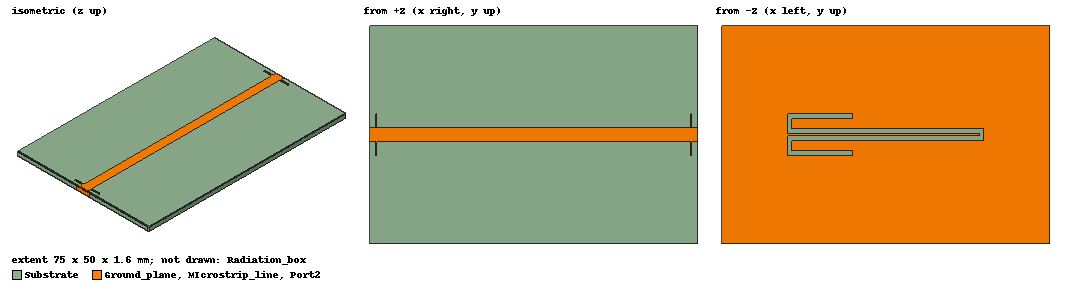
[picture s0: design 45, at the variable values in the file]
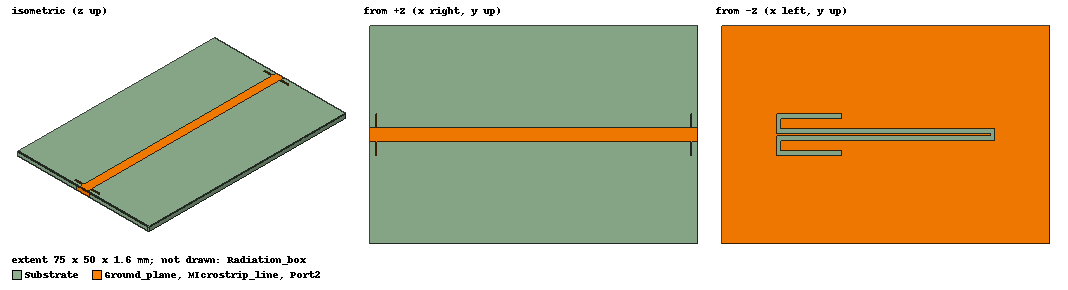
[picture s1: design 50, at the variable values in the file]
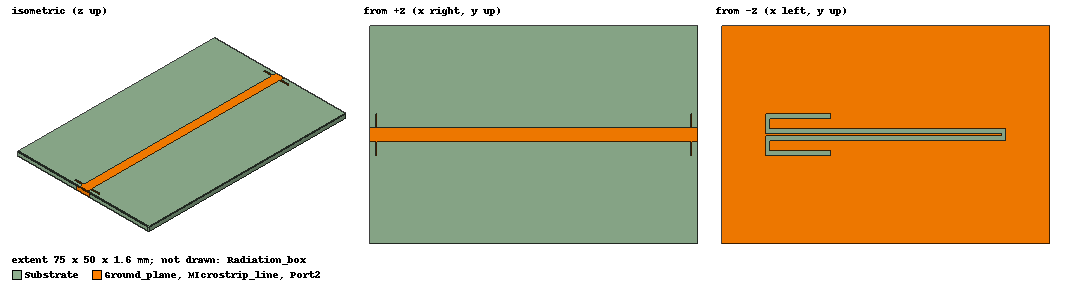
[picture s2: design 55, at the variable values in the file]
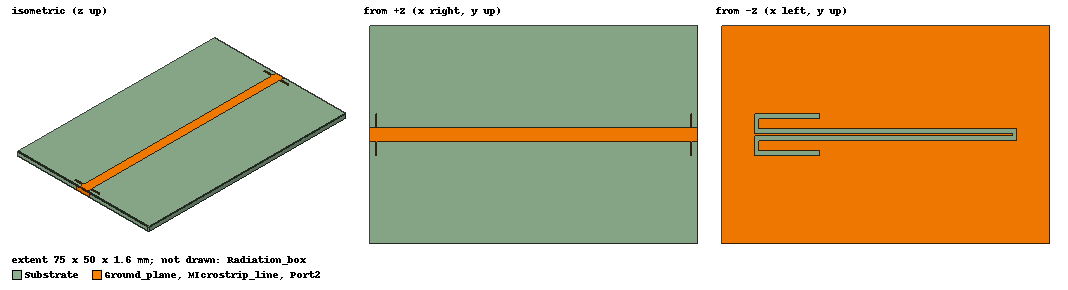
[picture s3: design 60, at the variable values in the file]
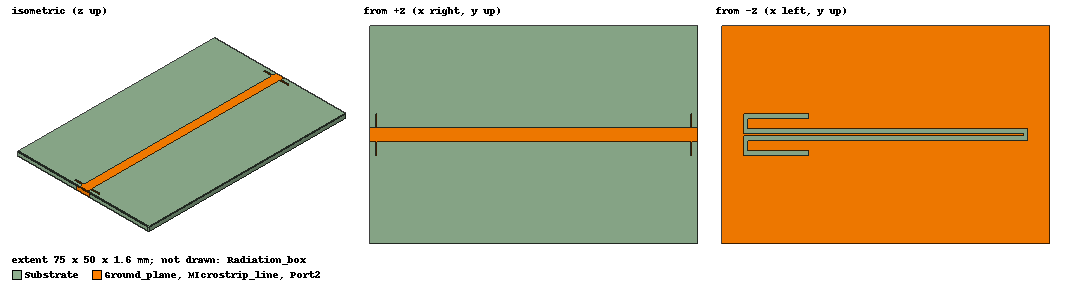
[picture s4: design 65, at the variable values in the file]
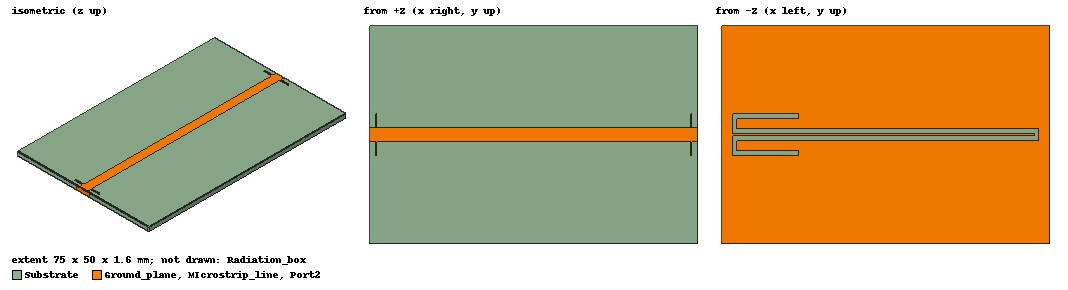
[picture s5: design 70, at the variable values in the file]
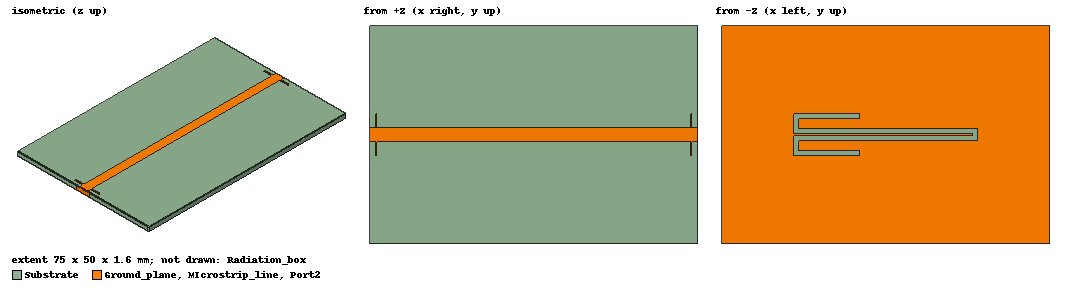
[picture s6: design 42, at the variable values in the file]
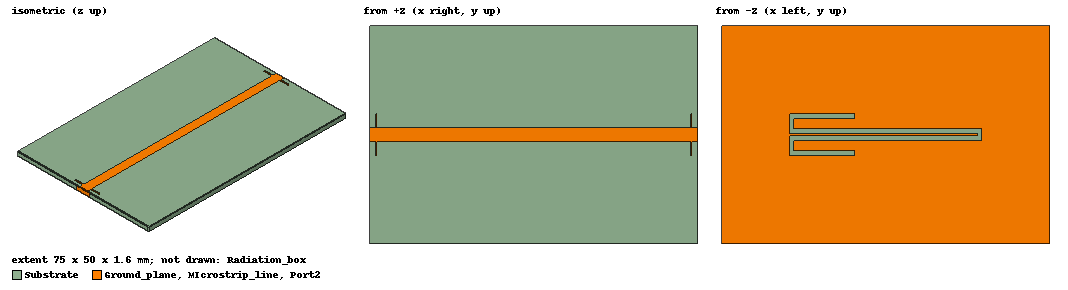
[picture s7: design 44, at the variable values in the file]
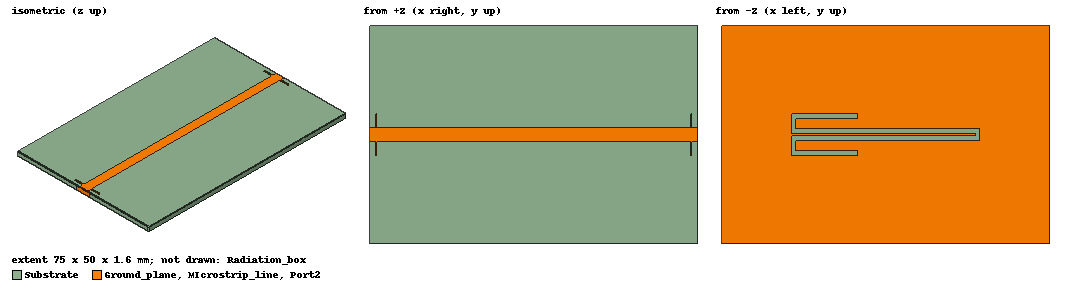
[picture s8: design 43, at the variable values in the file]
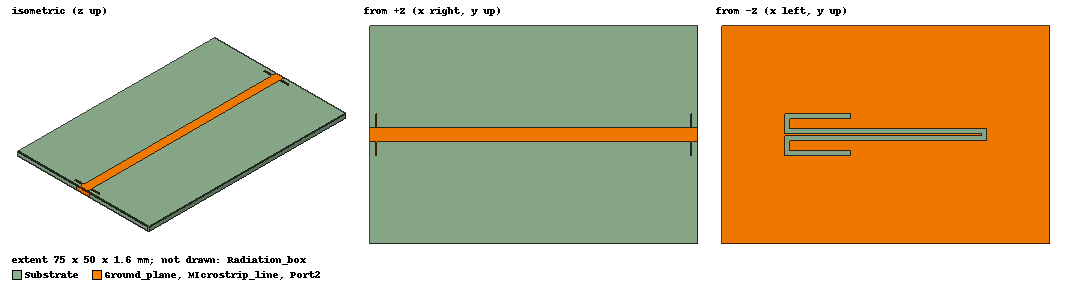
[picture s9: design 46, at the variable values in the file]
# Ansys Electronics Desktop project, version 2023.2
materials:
  vacuum: permittivity=1
  FR4_epoxy: permittivity=4.4 dielectric_loss_tangent=0.02
  air: permittivity=1.0006 permeability=1.0000004

design 45 (HFSS, HFSS Terminal Network, model units mm)
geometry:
  Substrate [FR4_epoxy] = box(corner=(-37.5mm, -25mm, 0mm), size=(75mm, 50mm, 1.6mm))
  Ground_plane = rectangle(corner=(-37.5mm, -25mm, 0mm), x_size=75mm, y_size=50mm)
  MIcrostrip_line = rectangle(corner=(-37.5mm, -1.5mm, 1.6mm), x_size=75mm, y_size=3mm)
  Rectangle1 = rectangle(corner=(-22.5mm, -1.3mm, 0mm), x_size=45mm, y_size=1mm)
  Rectangle2 = rectangle(corner=(-22.5mm, 0.3mm, 0mm), x_size=45mm, y_size=1mm)
  Rectangle3 = rectangle(corner=(-22.5mm, -0.3mm, 0mm), x_size=1mm, y_size=0.6mm)
  Rectangle4 = rectangle(corner=(22.5mm, -1.3mm, 0mm), x_size=-1mm, y_size=-2.4mm)
  Rectangle5 = rectangle(corner=(22.5mm, 3.7mm, 0mm), x_size=-1mm, y_size=-2.4mm)
  Rectangle6 = rectangle(corner=(22.5mm, -3.7mm, 0mm), x_size=-15mm, y_size=-1mm)
  Rectangle7 = rectangle(corner=(22.5mm, 4.7mm, 0mm), x_size=-15mm, y_size=-1mm)
  Ground_plane.subtract(Rectangle1..Rectangle7)
  Port1 = rectangle(corner=(-37.5mm, -2.5mm, 1.6mm), y_size=5mm, z_size=-1.6mm)
  Port2 = rectangle(corner=(37.5mm, -2.5mm, 1.6mm), y_size=5mm, z_size=-1.6mm)
  Radiation_box [air] = box(corner=(-60mm, -45mm, -10mm), size=(125mm, 90mm, 35mm))
  Rectangle8 = rectangle(corner=(35.8mm, -1.5mm, 1.6mm), x_size=0.4mm, y_size=-3.4mm)
  Rectangle9 = rectangle(corner=(35.8mm, 1.5mm, 1.6mm), x_size=0.4mm, y_size=3.4mm)
  Rectangle10 = rectangle(corner=(-36.2mm, -1.5mm, 1.6mm), x_size=0.4mm, y_size=-3.4mm)
  Rectangle11 = rectangle(corner=(-36.2mm, 1.5mm, 1.6mm), x_size=0.4mm, y_size=3.4mm)
  MIcrostrip_line.unite(Rectangle8..Rectangle11)
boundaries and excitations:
  PerfE1: Perfect E Objects=Ground_plane
  PerfE2: Perfect E Objects=MIcrostrip_line
  Rad1: Radiation Objects=Radiation_box
  1: Lumped Port Objects=Port1 LumpedPortType=Modal Modes{Mode1{IntLine{(-37.5, 0, 0) -> (-37.5, 0, 1.6)} CharImp=Zpi RenormImp=50ohm}} Impedance=50ohm
  2: Lumped Port Objects=Port2 LumpedPortType=Modal Modes{Mode1{IntLine{(37.5, 0, 0) -> (37.5, 0, 1.6)} CharImp=Zpi RenormImp=50ohm}} Impedance=50ohm
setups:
  Setup1: HfssDriven Frequency=1GHz MaxDeltaS=0.02 MaximumPasses=6 MinimumPasses=1 MinimumConvergedPasses=1 PercentRefinement=30 BasisOrder=1 PortAccuracy=2 DrivenSolverType="Direct Solver"
    sweep Sweep: 0.1GHz to 1.5GHz, 401 points; Type=Fast SaveFields
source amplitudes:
  1:1: 1V 0deg
  2:1: 0V 0deg
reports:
  S Parameter Plot 1: dB(S(1,1)), dB(S(2,1)), dB(S(1,2)), dB(S(2,2)) vs Freq on Setup1 : Sweep; markers m1 at 0.905GHz, m2 at 0.8945GHz, m3 at 0.9155GHz, m4 at 1.2445GHz, m5 at 0.653GHz, m6 at 0.3415GHz

design 50 (HFSS, HFSS Terminal Network, model units mm)
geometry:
  Substrate [FR4_epoxy] = box(corner=(-37.5mm, -25mm, 0mm), size=(75mm, 50mm, 1.6mm))
  Ground_plane = rectangle(corner=(-37.5mm, -25mm, 0mm), x_size=75mm, y_size=50mm)
  Rectangle1 = rectangle(corner=(-25mm, -1.3mm, 0mm), x_size=50mm, y_size=1mm)
  Rectangle2 = rectangle(corner=(-25mm, 0.3mm, 0mm), x_size=50mm, y_size=1mm)
  Rectangle3 = rectangle(corner=(-25mm, -0.3mm, 0mm), x_size=1mm, y_size=0.6mm)
  Rectangle4 = rectangle(corner=(25mm, -1.3mm, 0mm), x_size=-1mm, y_size=-2.4mm)
  Rectangle5 = rectangle(corner=(25mm, 3.7mm, 0mm), x_size=-1mm, y_size=-2.4mm)
  Rectangle6 = rectangle(corner=(25mm, -3.7mm, 0mm), x_size=-15mm, y_size=-1mm)
  Rectangle7 = rectangle(corner=(25mm, 4.7mm, 0mm), x_size=-15mm, y_size=-1mm)
  Ground_plane.subtract(Rectangle1..Rectangle7)
  MIcrostrip_line = rectangle(corner=(-37.5mm, -1.5mm, 1.6mm), x_size=75mm, y_size=3mm)
  Rectangle8 = rectangle(corner=(35.8mm, -1.5mm, 1.6mm), x_size=0.4mm, y_size=-3.4mm)
  Rectangle9 = rectangle(corner=(35.8mm, 1.5mm, 1.6mm), x_size=0.4mm, y_size=3.4mm)
  Rectangle10 = rectangle(corner=(-36.2mm, -1.5mm, 1.6mm), x_size=0.4mm, y_size=-3.4mm)
  Rectangle11 = rectangle(corner=(-36.2mm, 1.5mm, 1.6mm), x_size=0.4mm, y_size=3.4mm)
  MIcrostrip_line.unite(Rectangle8..Rectangle11)
  Port1 = rectangle(corner=(-37.5mm, -2.5mm, 1.6mm), y_size=5mm, z_size=-1.6mm)
  Port2 = rectangle(corner=(37.5mm, -2.5mm, 1.6mm), y_size=5mm, z_size=-1.6mm)
  Radiation_box [air] = box(corner=(-60mm, -45mm, -10mm), size=(125mm, 90mm, 35mm))
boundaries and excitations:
  PerfE1: Perfect E Objects=Ground_plane
  PerfE2: Perfect E Objects=MIcrostrip_line
  Rad1: Radiation Objects=Radiation_box
  1: Lumped Port Objects=Port1 LumpedPortType=Modal Modes{Mode1{IntLine{(-37.5, 0, 0) -> (-37.5, 0, 1.6)} CharImp=Zpi RenormImp=50ohm}} Impedance=50ohm
  2: Lumped Port Objects=Port2 LumpedPortType=Modal Modes{Mode1{IntLine{(37.5, 0, 0) -> (37.5, 0, 1.6)} CharImp=Zpi RenormImp=50ohm}} Impedance=50ohm
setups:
  Setup1: HfssDriven Frequency=0.9GHz MaxDeltaS=0.02 MaximumPasses=6 MinimumPasses=1 MinimumConvergedPasses=1 PercentRefinement=30 BasisOrder=1 PortAccuracy=2 DrivenSolverType="Direct Solver"
    sweep Sweep: 0.1GHz to 1.5GHz, 801 points; Type=Fast SaveFields
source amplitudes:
  1:1: 1V 0deg
  2:1: 0V 0deg
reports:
  S Parameter Plot 1: dB(S(1,1)), dB(S(2,1)), dB(S(1,2)), dB(S(2,2)) vs Freq on Setup1 : Sweep; markers m1 at 0.57775GHz, m2 at 1.13075GHz, m3 at 0.81225GHz, m4 at 0.835GHz, m5 at 0.82275GHz

design 55 (HFSS, HFSS Terminal Network, model units mm)
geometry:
  Substrate [FR4_epoxy] = box(corner=(-37.5mm, -25mm, 0mm), size=(75mm, 50mm, 1.6mm))
  Ground_plane = rectangle(corner=(-37.5mm, -25mm, 0mm), x_size=75mm, y_size=50mm)
  Rectangle1 = rectangle(corner=(-27.5mm, -1.3mm, 0mm), x_size=55mm, y_size=1mm)
  Rectangle2 = rectangle(corner=(-27.5mm, 0.3mm, 0mm), x_size=55mm, y_size=1mm)
  Rectangle3 = rectangle(corner=(-27.5mm, -0.3mm, 0mm), x_size=1mm, y_size=0.6mm)
  Rectangle4 = rectangle(corner=(27.5mm, -1.3mm, 0mm), x_size=-1mm, y_size=-2.4mm)
  Rectangle5 = rectangle(corner=(27.5mm, 3.7mm, 0mm), x_size=-1mm, y_size=-2.4mm)
  Rectangle6 = rectangle(corner=(27.5mm, -3.7mm, 0mm), x_size=-15mm, y_size=-1mm)
  Rectangle7 = rectangle(corner=(27.5mm, 4.7mm, 0mm), x_size=-15mm, y_size=-1mm)
  Ground_plane.subtract(Rectangle1..Rectangle7)
  MIcrostrip_line = rectangle(corner=(-37.5mm, -1.5mm, 1.6mm), x_size=75mm, y_size=3mm)
  Rectangle8 = rectangle(corner=(35.8mm, -1.5mm, 1.6mm), x_size=0.4mm, y_size=-3.4mm)
  Rectangle9 = rectangle(corner=(35.8mm, 1.5mm, 1.6mm), x_size=0.4mm, y_size=3.4mm)
  Rectangle10 = rectangle(corner=(-36.2mm, -1.5mm, 1.6mm), x_size=0.4mm, y_size=-3.4mm)
  Rectangle11 = rectangle(corner=(-36.2mm, 1.5mm, 1.6mm), x_size=0.4mm, y_size=3.4mm)
  MIcrostrip_line.unite(Rectangle8..Rectangle11)
  Port1 = rectangle(corner=(-37.5mm, -2.5mm, 1.6mm), y_size=5mm, z_size=-1.6mm)
  Port2 = rectangle(corner=(37.5mm, -2.5mm, 1.6mm), y_size=5mm, z_size=-1.6mm)
  Radiation_box [air] = box(corner=(-60mm, -45mm, -10mm), size=(125mm, 90mm, 35mm))
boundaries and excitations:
  PerfE1: Perfect E Objects=Ground_plane
  PerfE2: Perfect E Objects=MIcrostrip_line
  Rad1: Radiation Objects=Radiation_box
  1: Lumped Port Objects=Port1 LumpedPortType=Modal Modes{Mode1{IntLine{(-37.5, 0, 0) -> (-37.5, 0, 1.6)} CharImp=Zpi RenormImp=50ohm}} Impedance=50ohm
  2: Lumped Port Objects=Port2 LumpedPortType=Modal Modes{Mode1{IntLine{(37.5, 0, 0) -> (37.5, 0, 1.6)} CharImp=Zpi RenormImp=50ohm}} Impedance=50ohm
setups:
  Setup1: HfssDriven Frequency=0.9GHz MaxDeltaS=0.02 MaximumPasses=6 MinimumPasses=1 MinimumConvergedPasses=1 PercentRefinement=30 BasisOrder=1 PortAccuracy=2 DrivenSolverType="Direct Solver"
    sweep Sweep: 0.1GHz to 1.5GHz, 901 points; Type=Fast SaveFields
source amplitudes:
  1:1: 1V 0deg
  2:1: 0V 0deg
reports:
  S Parameter Plot 1: dB(S(1,1)), dB(S(2,1)), dB(S(1,2)), dB(S(2,2)) vs Freq on Setup1 : Sweep; markers m1 at 0.59155556GHz, m2 at 1.024GHz, m3 at 0.74555556GHz, m4 at 0.76266667GHz, m5 at 0.75333333GHz

design 60 (HFSS, HFSS Terminal Network, model units mm)
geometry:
  Substrate [FR4_epoxy] = box(corner=(-37.5mm, -25mm, 0mm), size=(75mm, 50mm, 1.6mm))
  Ground_plane = rectangle(corner=(-37.5mm, -25mm, 0mm), x_size=75mm, y_size=50mm)
  Rectangle1 = rectangle(corner=(-30mm, -1.3mm, 0mm), x_size=60mm, y_size=1mm)
  Rectangle2 = rectangle(corner=(-30mm, 0.3mm, 0mm), x_size=60mm, y_size=1mm)
  Rectangle3 = rectangle(corner=(-30mm, -0.3mm, 0mm), x_size=1mm, y_size=0.6mm)
  Rectangle4 = rectangle(corner=(30mm, -1.3mm, 0mm), x_size=-1mm, y_size=-2.4mm)
  Rectangle5 = rectangle(corner=(30mm, 3.7mm, 0mm), x_size=-1mm, y_size=-2.4mm)
  Rectangle6 = rectangle(corner=(30mm, -3.7mm, 0mm), x_size=-15mm, y_size=-1mm)
  Rectangle7 = rectangle(corner=(30mm, 4.7mm, 0mm), x_size=-15mm, y_size=-1mm)
  Ground_plane.subtract(Rectangle1..Rectangle7)
  MIcrostrip_line = rectangle(corner=(-37.5mm, -1.5mm, 1.6mm), x_size=75mm, y_size=3mm)
  Rectangle8 = rectangle(corner=(35.8mm, -1.5mm, 1.6mm), x_size=0.4mm, y_size=-3.4mm)
  Rectangle9 = rectangle(corner=(35.8mm, 1.5mm, 1.6mm), x_size=0.4mm, y_size=3.4mm)
  Rectangle10 = rectangle(corner=(-36.2mm, -1.5mm, 1.6mm), x_size=0.4mm, y_size=-3.4mm)
  Rectangle11 = rectangle(corner=(-36.2mm, 1.5mm, 1.6mm), x_size=0.4mm, y_size=3.4mm)
  MIcrostrip_line.unite(Rectangle8..Rectangle11)
  Port1 = rectangle(corner=(-37.5mm, -2.5mm, 1.6mm), y_size=5mm, z_size=-1.6mm)
  Port2 = rectangle(corner=(37.5mm, -2.5mm, 1.6mm), y_size=5mm, z_size=-1.6mm)
  Radiation_box [air] = box(corner=(-60mm, -45mm, -10mm), size=(125mm, 90mm, 35mm))
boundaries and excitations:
  PerfE1: Perfect E Objects=Ground_plane
  PerfE2: Perfect E Objects=MIcrostrip_line
  Rad1: Radiation Objects=Radiation_box
  1: Lumped Port Objects=Port1 LumpedPortType=Modal Modes{Mode1{IntLine{(-37.5, 0, 0) -> (-37.5, 0, 1.6)} CharImp=Zpi RenormImp=50ohm}} Impedance=50ohm
  2: Lumped Port Objects=Port2 LumpedPortType=Modal Modes{Mode1{IntLine{(37.5, 0, 0) -> (37.5, 0, 1.6)} CharImp=Zpi RenormImp=50ohm}} Impedance=50ohm
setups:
  Setup1: HfssDriven Frequency=0.8GHz MaxDeltaS=0.02 MaximumPasses=6 MinimumPasses=1 MinimumConvergedPasses=1 PercentRefinement=30 BasisOrder=1 PortAccuracy=2 DrivenSolverType="Direct Solver"
    sweep Sweep: 0.1GHz to 1.5GHz, 801 points; Type=Fast SaveFields
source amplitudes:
  1:1: 1V 0deg
  2:1: 0V 0deg
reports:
  S Parameter Plot 1: dB(S(1,1)), dB(S(2,1)), dB(S(1,2)), dB(S(2,2)) vs Freq on Setup1 : Sweep; markers m1 at 0.70725GHz, m2 at 0.70025GHz, m3 at 0.716GHz, m4 at 0.53925GHz, m5 at 0.93125GHz

design 65 (HFSS, HFSS Terminal Network, model units mm)
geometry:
  Substrate [FR4_epoxy] = box(corner=(-37.5mm, -25mm, 0mm), size=(75mm, 50mm, 1.6mm))
  Ground_plane = rectangle(corner=(-37.5mm, -25mm, 0mm), x_size=75mm, y_size=50mm)
  Rectangle1 = rectangle(corner=(-32.5mm, -1.3mm, 0mm), x_size=65mm, y_size=1mm)
  Rectangle2 = rectangle(corner=(-32.5mm, 0.3mm, 0mm), x_size=65mm, y_size=1mm)
  Rectangle3 = rectangle(corner=(-32.5mm, -0.3mm, 0mm), x_size=1mm, y_size=0.6mm)
  Rectangle4 = rectangle(corner=(32.5mm, -1.3mm, 0mm), x_size=-1mm, y_size=-2.4mm)
  Rectangle5 = rectangle(corner=(32.5mm, 3.7mm, 0mm), x_size=-1mm, y_size=-2.4mm)
  Rectangle6 = rectangle(corner=(32.5mm, -3.7mm, 0mm), x_size=-15mm, y_size=-1mm)
  Rectangle7 = rectangle(corner=(32.5mm, 4.7mm, 0mm), x_size=-15mm, y_size=-1mm)
  Ground_plane.subtract(Rectangle1..Rectangle7)
  MIcrostrip_line = rectangle(corner=(-37.5mm, -1.5mm, 1.6mm), x_size=75mm, y_size=3mm)
  Rectangle8 = rectangle(corner=(35.8mm, -1.5mm, 1.6mm), x_size=0.4mm, y_size=-3.4mm)
  Rectangle9 = rectangle(corner=(35.8mm, 1.5mm, 1.6mm), x_size=0.4mm, y_size=3.4mm)
  Rectangle10 = rectangle(corner=(-36.2mm, -1.5mm, 1.6mm), x_size=0.4mm, y_size=-3.4mm)
  Rectangle11 = rectangle(corner=(-36.2mm, 1.5mm, 1.6mm), x_size=0.4mm, y_size=3.4mm)
  MIcrostrip_line.unite(Rectangle8..Rectangle11)
  Port1 = rectangle(corner=(-37.5mm, -2.5mm, 1.6mm), y_size=5mm, z_size=-1.6mm)
  Port2 = rectangle(corner=(37.5mm, -2.5mm, 1.6mm), y_size=5mm, z_size=-1.6mm)
  Radiation_box [air] = box(corner=(-60mm, -45mm, -10mm), size=(125mm, 90mm, 35mm))
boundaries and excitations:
  PerfE1: Perfect E Objects=Ground_plane
  PerfE2: Perfect E Objects=MIcrostrip_line
  Rad1: Radiation Objects=Radiation_box
  1: Lumped Port Objects=Port1 LumpedPortType=Modal Modes{Mode1{IntLine{(-37.5, 0, 0) -> (-37.5, 0, 1.6)} CharImp=Zpi RenormImp=50ohm}} Impedance=50ohm
  2: Lumped Port Objects=Port2 LumpedPortType=Modal Modes{Mode1{IntLine{(37.5, 0, 0) -> (37.5, 0, 1.6)} CharImp=Zpi RenormImp=50ohm}} Impedance=50ohm
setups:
  Setup1: HfssDriven Frequency=0.7GHz MaxDeltaS=0.02 MaximumPasses=6 MinimumPasses=1 MinimumConvergedPasses=1 PercentRefinement=30 BasisOrder=1 PortAccuracy=2 DrivenSolverType="Direct Solver"
    sweep Sweep: 0.1GHz to 1.5GHz, 901 points; Type=Fast SaveFields
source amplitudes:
  1:1: 1V 0deg
  2:1: 0V 0deg
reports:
  S Parameter Plot 1: dB(S(1,1)), dB(S(2,1)), dB(S(1,2)), dB(S(2,2)) vs Freq on Setup1 : Sweep; markers m1 at 0.46244444GHz, m2 at 0.93533333GHz, m3 at 0.63666667GHz, m4 at 0.65066667GHz, m5 at 0.64444444GHz

design 70 (HFSS, HFSS Terminal Network, model units mm)
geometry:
  Substrate [FR4_epoxy] = box(corner=(-37.5mm, -25mm, 0mm), size=(75mm, 50mm, 1.6mm))
  Ground_plane = rectangle(corner=(-37.5mm, -25mm, 0mm), x_size=75mm, y_size=50mm)
  Rectangle1 = rectangle(corner=(-35mm, -1.3mm, 0mm), x_size=70mm, y_size=1mm)
  Rectangle2 = rectangle(corner=(-35mm, 0.3mm, 0mm), x_size=70mm, y_size=1mm)
  Rectangle3 = rectangle(corner=(-35mm, -0.3mm, 0mm), x_size=1mm, y_size=0.6mm)
  Rectangle4 = rectangle(corner=(35mm, -1.3mm, 0mm), x_size=-1mm, y_size=-2.4mm)
  Rectangle5 = rectangle(corner=(35mm, 3.7mm, 0mm), x_size=-1mm, y_size=-2.4mm)
  Rectangle6 = rectangle(corner=(35mm, -3.7mm, 0mm), x_size=-15mm, y_size=-1mm)
  Rectangle7 = rectangle(corner=(35mm, 4.7mm, 0mm), x_size=-15mm, y_size=-1mm)
  Ground_plane.subtract(Rectangle1..Rectangle7)
  MIcrostrip_line = rectangle(corner=(-37.5mm, -1.5mm, 1.6mm), x_size=75mm, y_size=3mm)
  Rectangle8 = rectangle(corner=(35.8mm, -1.5mm, 1.6mm), x_size=0.4mm, y_size=-3.4mm)
  Rectangle9 = rectangle(corner=(35.8mm, 1.5mm, 1.6mm), x_size=0.4mm, y_size=3.4mm)
  Rectangle10 = rectangle(corner=(-36.2mm, -1.5mm, 1.6mm), x_size=0.4mm, y_size=-3.4mm)
  Rectangle11 = rectangle(corner=(-36.2mm, 1.5mm, 1.6mm), x_size=0.4mm, y_size=3.4mm)
  MIcrostrip_line.unite(Rectangle8..Rectangle11)
  Port1 = rectangle(corner=(-37.5mm, -2.5mm, 1.6mm), y_size=5mm, z_size=-1.6mm)
  Port2 = rectangle(corner=(37.5mm, -2.5mm, 1.6mm), y_size=5mm, z_size=-1.6mm)
  Radiation_box [air] = box(corner=(-60mm, -45mm, -10mm), size=(125mm, 90mm, 35mm))
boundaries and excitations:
  PerfE1: Perfect E Objects=Ground_plane
  PerfE2: Perfect E Objects=MIcrostrip_line
  Rad1: Radiation Objects=Radiation_box
  1: Lumped Port Objects=Port1 LumpedPortType=Modal Modes{Mode1{IntLine{(-37.5, 0, 0) -> (-37.5, 0, 1.6)} CharImp=Zpi RenormImp=50ohm}} Impedance=50ohm
  2: Lumped Port Objects=Port2 LumpedPortType=Modal Modes{Mode1{IntLine{(37.5, 0, 0) -> (37.5, 0, 1.6)} CharImp=Zpi RenormImp=50ohm}} Impedance=50ohm
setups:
  Setup1: HfssDriven Frequency=0.6GHz MaxDeltaS=0.02 MaximumPasses=6 MinimumPasses=1 MinimumConvergedPasses=1 PercentRefinement=30 BasisOrder=1 PortAccuracy=2 DrivenSolverType="Direct Solver"
    sweep Sweep: 0.1GHz to 1.5GHz, 901 points; Type=Fast SaveFields
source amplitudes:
  1:1: 1V 0deg
  2:1: 0V 0deg
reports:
  S Parameter Plot 1: dB(S(1,1)), dB(S(2,1)), dB(S(1,2)), dB(S(2,2)) vs Freq on Setup1 : Sweep; markers m1 at 0.36288889GHz, m2 at 0.88866667GHz, m3 at 0.59777778GHz, m4 at 0.61022222GHz, m5 at 0.604GHz

design 42 (HFSS, HFSS Terminal Network, model units mm)
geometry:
  Substrate [FR4_epoxy] = box(corner=(-37.5mm, -25mm, 0mm), size=(75mm, 50mm, 1.6mm))
  Ground_plane = rectangle(corner=(-37.5mm, -25mm, 0mm), x_size=75mm, y_size=50mm)
  Rectangle1 = rectangle(corner=(-21mm, -1.3mm, 0mm), x_size=42mm, y_size=1mm)
  Rectangle2 = rectangle(corner=(-21mm, 0.3mm, 0mm), x_size=42mm, y_size=1mm)
  Rectangle3 = rectangle(corner=(-21mm, -0.3mm, 0mm), x_size=1mm, y_size=0.6mm)
  Rectangle4 = rectangle(corner=(21mm, -1.3mm, 0mm), x_size=-1mm, y_size=-2.4mm)
  Rectangle5 = rectangle(corner=(21mm, 3.7mm, 0mm), x_size=-1mm, y_size=-2.4mm)
  Rectangle6 = rectangle(corner=(21mm, -3.7mm, 0mm), x_size=-15mm, y_size=-1mm)
  Rectangle7 = rectangle(corner=(21mm, 4.7mm, 0mm), x_size=-15mm, y_size=-1mm)
  Ground_plane.subtract(Rectangle1..Rectangle7)
  MIcrostrip_line = rectangle(corner=(-37.5mm, -1.5mm, 1.6mm), x_size=75mm, y_size=3mm)
  Rectangle8 = rectangle(corner=(35.8mm, -1.5mm, 1.6mm), x_size=0.4mm, y_size=-3.4mm)
  Rectangle9 = rectangle(corner=(35.8mm, 1.5mm, 1.6mm), x_size=0.4mm, y_size=3.4mm)
  Rectangle10 = rectangle(corner=(-36.2mm, -1.5mm, 1.6mm), x_size=0.4mm, y_size=-3.4mm)
  Rectangle11 = rectangle(corner=(-36.2mm, 1.5mm, 1.6mm), x_size=0.4mm, y_size=3.4mm)
  MIcrostrip_line.unite(Rectangle8..Rectangle11)
  Port1 = rectangle(corner=(-37.5mm, -2.5mm, 1.6mm), y_size=5mm, z_size=-1.6mm)
  Port2 = rectangle(corner=(37.5mm, -2.5mm, 1.6mm), y_size=5mm, z_size=-1.6mm)
  Radiation_box [air] = box(corner=(-60mm, -45mm, -10mm), size=(125mm, 90mm, 35mm))
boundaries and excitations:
  PerfE1: Perfect E Objects=Ground_plane
  PerfE2: Perfect E Objects=MIcrostrip_line
  Rad1: Radiation Objects=Radiation_box
  1: Lumped Port Objects=Port1 LumpedPortType=Modal Modes{Mode1{IntLine{(-37.5, 0, 0) -> (-37.5, 0, 1.6)} CharImp=Zpi RenormImp=50ohm}} Impedance=50ohm
  2: Lumped Port Objects=Port2 LumpedPortType=Modal Modes{Mode1{IntLine{(37.5, 0, 0) -> (37.5, 0, 1.6)} CharImp=Zpi RenormImp=50ohm}} Impedance=50ohm
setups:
  Setup1: HfssDriven Frequency=1GHz MaxDeltaS=0.02 MaximumPasses=6 MinimumPasses=1 MinimumConvergedPasses=1 PercentRefinement=30 BasisOrder=1 PortAccuracy=2 DrivenSolverType="Direct Solver"
    sweep Sweep: 0.1GHz to 1.5GHz, 901 points; Type=Fast SaveFields
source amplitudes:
  1:1: 1V 0deg
  2:1: 0V 0deg
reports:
  S Parameter Plot 1: dB(S(1,1)), dB(S(2,1)), dB(S(1,2)), dB(S(2,2)) vs Freq on Setup1 : Sweep; markers m1 at 0.56355556GHz, m2 at 1.1577778GHz, m3 at 0.94777778GHz, m4 at 0.97733333GHz, m5 at 0.96333333GHz, m6 at 0.31GHz

design 44 (HFSS, HFSS Terminal Network, model units mm)
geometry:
  Substrate [FR4_epoxy] = box(corner=(-37.5mm, -25mm, 0mm), size=(75mm, 50mm, 1.6mm))
  Ground_plane = rectangle(corner=(-37.5mm, -25mm, 0mm), x_size=75mm, y_size=50mm)
  Rectangle1 = rectangle(corner=(-22mm, -1.3mm, 0mm), x_size=44mm, y_size=1mm)
  Rectangle2 = rectangle(corner=(-22mm, 0.3mm, 0mm), x_size=44mm, y_size=1mm)
  Rectangle3 = rectangle(corner=(-22mm, -0.3mm, 0mm), x_size=1mm, y_size=0.6mm)
  Rectangle4 = rectangle(corner=(22mm, -1.3mm, 0mm), x_size=-1mm, y_size=-2.4mm)
  Rectangle5 = rectangle(corner=(22mm, 3.7mm, 0mm), x_size=-1mm, y_size=-2.4mm)
  Rectangle6 = rectangle(corner=(22mm, -3.7mm, 0mm), x_size=-15mm, y_size=-1mm)
  Rectangle7 = rectangle(corner=(22mm, 4.7mm, 0mm), x_size=-15mm, y_size=-1mm)
  Ground_plane.subtract(Rectangle1..Rectangle7)
  MIcrostrip_line = rectangle(corner=(-37.5mm, -1.5mm, 1.6mm), x_size=75mm, y_size=3mm)
  Rectangle8 = rectangle(corner=(35.8mm, -1.5mm, 1.6mm), x_size=0.4mm, y_size=-3.4mm)
  Rectangle9 = rectangle(corner=(35.8mm, 1.5mm, 1.6mm), x_size=0.4mm, y_size=3.4mm)
  Rectangle10 = rectangle(corner=(-36.2mm, -1.5mm, 1.6mm), x_size=0.4mm, y_size=-3.4mm)
  Rectangle11 = rectangle(corner=(-36.2mm, 1.5mm, 1.6mm), x_size=0.4mm, y_size=3.4mm)
  MIcrostrip_line.unite(Rectangle8..Rectangle11)
  Port1 = rectangle(corner=(-37.5mm, -2.5mm, 1.6mm), y_size=5mm, z_size=-1.6mm)
  Port2 = rectangle(corner=(37.5mm, -2.5mm, 1.6mm), y_size=5mm, z_size=-1.6mm)
  Radiation_box [air] = box(corner=(-60mm, -45mm, -10mm), size=(125mm, 90mm, 35mm))
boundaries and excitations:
  PerfE1: Perfect E Objects=Ground_plane
  PerfE2: Perfect E Objects=MIcrostrip_line
  Rad1: Radiation Objects=Radiation_box
  1: Lumped Port Objects=Port1 LumpedPortType=Modal Modes{Mode1{IntLine{(-37.5, 0, 0) -> (-37.5, 0, 1.6)} CharImp=Zpi RenormImp=50ohm}} Impedance=50ohm
  2: Lumped Port Objects=Port2 LumpedPortType=Modal Modes{Mode1{IntLine{(37.5, 0, 0) -> (37.5, 0, 1.6)} CharImp=Zpi RenormImp=50ohm}} Impedance=50ohm
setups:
  Setup1: HfssDriven Frequency=1GHz MaxDeltaS=0.02 MaximumPasses=6 MinimumPasses=1 MinimumConvergedPasses=1 PercentRefinement=30 BasisOrder=1 PortAccuracy=2 DrivenSolverType="Direct Solver"
    sweep Sweep: 0.1GHz to 1.5GHz, 801 points; Type=Fast SaveFields
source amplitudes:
  1:1: 1V 0deg
  2:1: 0V 0deg
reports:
  S Parameter Plot 1: dB(S(1,1)), dB(S(2,1)), dB(S(1,2)), dB(S(2,2)) vs Freq on Setup1 : Sweep; markers m1 at 0.93825GHz, m2 at 0.926GHz, m3 at 0.9505GHz, m4 at 0.6355GHz, m5 at 1.30925GHz, m6 at 0.32225GHz

design 43 (HFSS, HFSS Terminal Network, model units mm)
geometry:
  Substrate [FR4_epoxy] = box(corner=(-37.5mm, -25mm, 0mm), size=(75mm, 50mm, 1.6mm))
  Ground_plane = rectangle(corner=(-37.5mm, -25mm, 0mm), x_size=75mm, y_size=50mm)
  Rectangle1 = rectangle(corner=(-21.5mm, -1.3mm, 0mm), x_size=43mm, y_size=1mm)
  Rectangle2 = rectangle(corner=(-21.5mm, 0.3mm, 0mm), x_size=43mm, y_size=1mm)
  Rectangle3 = rectangle(corner=(-21.5mm, -0.3mm, 0mm), x_size=1mm, y_size=0.6mm)
  Rectangle4 = rectangle(corner=(21.5mm, -1.3mm, 0mm), x_size=-1mm, y_size=-2.4mm)
  Rectangle5 = rectangle(corner=(21.5mm, 3.7mm, 0mm), x_size=-1mm, y_size=-2.4mm)
  Rectangle6 = rectangle(corner=(21.5mm, -3.7mm, 0mm), x_size=-15mm, y_size=-1mm)
  Rectangle7 = rectangle(corner=(21.5mm, 4.7mm, 0mm), x_size=-15mm, y_size=-1mm)
  Ground_plane.subtract(Rectangle1..Rectangle7)
  MIcrostrip_line = rectangle(corner=(-37.5mm, -1.5mm, 1.6mm), x_size=75mm, y_size=3mm)
  Rectangle8 = rectangle(corner=(35.8mm, -1.5mm, 1.6mm), x_size=0.4mm, y_size=-3.4mm)
  Rectangle9 = rectangle(corner=(35.8mm, 1.5mm, 1.6mm), x_size=0.4mm, y_size=3.4mm)
  Rectangle10 = rectangle(corner=(-36.2mm, -1.5mm, 1.6mm), x_size=0.4mm, y_size=-3.4mm)
  Rectangle11 = rectangle(corner=(-36.2mm, 1.5mm, 1.6mm), x_size=0.4mm, y_size=3.4mm)
  MIcrostrip_line.unite(Rectangle8..Rectangle11)
  Port1 = rectangle(corner=(-37.5mm, -2.5mm, 1.6mm), y_size=5mm, z_size=-1.6mm)
  Port2 = rectangle(corner=(37.5mm, -2.5mm, 1.6mm), y_size=5mm, z_size=-1.6mm)
  Radiation_box [air] = box(corner=(-60mm, -45mm, -10mm), size=(125mm, 90mm, 35mm))
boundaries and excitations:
  PerfE1: Perfect E Objects=Ground_plane
  PerfE2: Perfect E Objects=MIcrostrip_line
  Rad1: Radiation Objects=Radiation_box
  1: Lumped Port Objects=Port1 LumpedPortType=Modal Modes{Mode1{IntLine{(-37.5, 0, 0) -> (-37.5, 0, 1.6)} CharImp=Zpi RenormImp=50ohm}} Impedance=50ohm
  2: Lumped Port Objects=Port2 LumpedPortType=Modal Modes{Mode1{IntLine{(37.5, 0, 0) -> (37.5, 0, 1.6)} CharImp=Zpi RenormImp=50ohm}} Impedance=50ohm
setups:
  Setup1: HfssDriven Frequency=0.8GHz MaxDeltaS=0.02 MaximumPasses=6 MinimumPasses=1 MinimumConvergedPasses=1 PercentRefinement=30 BasisOrder=1 PortAccuracy=2 DrivenSolverType="Direct Solver"
    sweep Sweep: 0.1GHz to 1.5GHz, 901 points; Type=Fast SaveFields
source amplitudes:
  1:1: 1V 0deg
  2:1: 0V 0deg
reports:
  S Parameter Plot 1: dB(S(1,1)), dB(S(2,1)), dB(S(1,2)), dB(S(2,2)) vs Freq on Setup1 : Sweep; markers m1 at 0.324GHz, m2 at 0.66466667GHz, m3 at 1.1468889GHz, m4 at 0.92288889GHz, m5 at 0.94933333GHz, m6 at 0.93688889GHz

design 46 (HFSS, HFSS Terminal Network, model units mm)
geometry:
  Substrate [FR4_epoxy] = box(corner=(-37.5mm, -25mm, 0mm), size=(75mm, 50mm, 1.6mm))
  Ground_plane = rectangle(corner=(-37.5mm, -25mm, 0mm), x_size=75mm, y_size=50mm)
  Rectangle1 = rectangle(corner=(-23mm, -1.3mm, 0mm), x_size=46mm, y_size=1mm)
  Rectangle2 = rectangle(corner=(-23mm, 0.3mm, 0mm), x_size=46mm, y_size=1mm)
  Rectangle3 = rectangle(corner=(-23mm, -0.3mm, 0mm), x_size=1mm, y_size=0.6mm)
  Rectangle4 = rectangle(corner=(23mm, -1.3mm, 0mm), x_size=-1mm, y_size=-2.4mm)
  Rectangle5 = rectangle(corner=(23mm, 3.7mm, 0mm), x_size=-1mm, y_size=-2.4mm)
  Rectangle6 = rectangle(corner=(23mm, -3.7mm, 0mm), x_size=-15mm, y_size=-1mm)
  Rectangle7 = rectangle(corner=(23mm, 4.7mm, 0mm), x_size=-15mm, y_size=-1mm)
  Ground_plane.subtract(Rectangle1..Rectangle7)
  MIcrostrip_line = rectangle(corner=(-37.5mm, -1.5mm, 1.6mm), x_size=75mm, y_size=3mm)
  Rectangle8 = rectangle(corner=(35.8mm, -1.5mm, 1.6mm), x_size=0.4mm, y_size=-3.4mm)
  Rectangle9 = rectangle(corner=(35.8mm, 1.5mm, 1.6mm), x_size=0.4mm, y_size=3.4mm)
  Rectangle10 = rectangle(corner=(-36.2mm, -1.5mm, 1.6mm), x_size=0.4mm, y_size=-3.4mm)
  Rectangle11 = rectangle(corner=(-36.2mm, 1.5mm, 1.6mm), x_size=0.4mm, y_size=3.4mm)
  MIcrostrip_line.unite(Rectangle8..Rectangle11)
  Port1 = rectangle(corner=(-37.5mm, -2.5mm, 1.6mm), y_size=5mm, z_size=-1.6mm)
  Port2 = rectangle(corner=(37.5mm, -2.5mm, 1.6mm), y_size=5mm, z_size=-1.6mm)
  Radiation_box [air] = box(corner=(-60mm, -45mm, -10mm), size=(125mm, 90mm, 35mm))
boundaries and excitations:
  PerfE1: Perfect E Objects=Ground_plane
  PerfE2: Perfect E Objects=MIcrostrip_line
  Rad1: Radiation Objects=Radiation_box
  1: Lumped Port Objects=Port1 LumpedPortType=Modal Modes{Mode1{IntLine{(-37.5, 0, 0) -> (-37.5, 0, 1.6)} CharImp=Zpi RenormImp=50ohm}} Impedance=50ohm
  2: Lumped Port Objects=Port2 LumpedPortType=Modal Modes{Mode1{IntLine{(37.5, 0, 0) -> (37.5, 0, 1.6)} CharImp=Zpi RenormImp=50ohm}} Impedance=50ohm
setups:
  Setup1: HfssDriven Frequency=0.9GHz MaxDeltaS=0.02 MaximumPasses=6 MinimumPasses=1 MinimumConvergedPasses=1 PercentRefinement=30 BasisOrder=1 PortAccuracy=2 DrivenSolverType="Direct Solver"
    sweep Sweep: 0.1GHz to 1.5GHz, 401 points; Type=Fast SaveFields
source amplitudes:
  1:1: 1V 0deg
  2:1: 0V 0deg
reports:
  S Parameter Plot 1: dB(S(1,1)), dB(S(2,1)), dB(S(1,2)), dB(S(2,2)) vs Freq on Setup1 : Sweep; markers m1 at 0.8735GHz, m2 at 0.856GHz, m3 at 0.8945GHz, m4 at 0.5165GHz, m5 at 1.2095GHz, m6 at 0.562GHz
